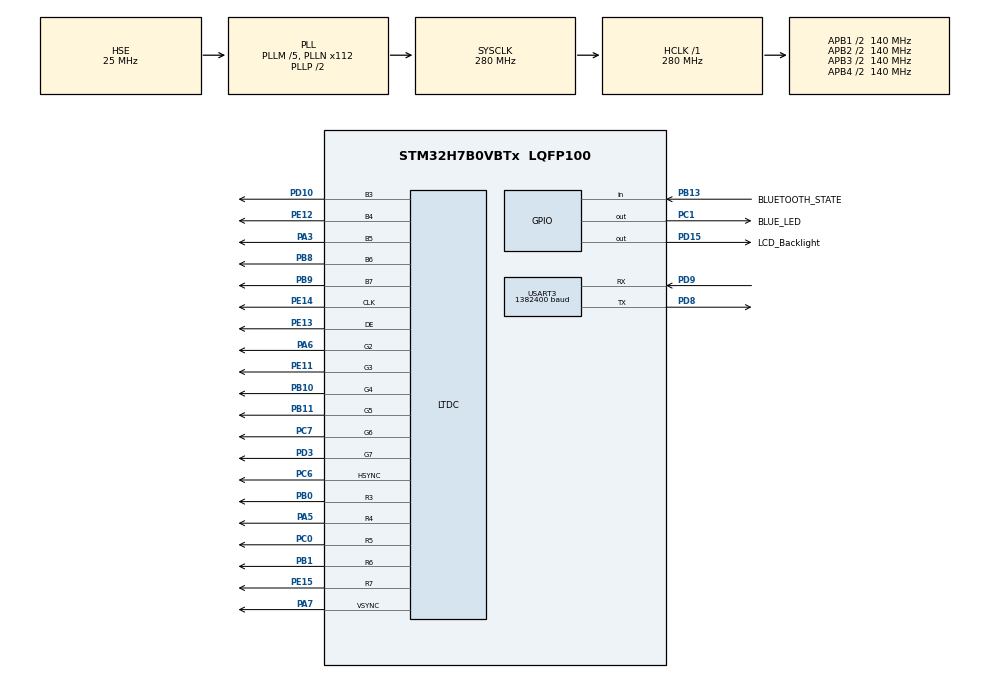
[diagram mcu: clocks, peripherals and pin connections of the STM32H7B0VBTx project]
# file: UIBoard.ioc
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CORTEX_M7.CPU_DCache=Disabled
CORTEX_M7.CPU_ICache=Enabled
CORTEX_M7.MPU_Control=__NULL
CORTEX_M7.default_mode_Activation=1
DMA2D.ColorMode=DMA2D_OUTPUT_RGB565
Dma.MEMTOMEM.2.Direction=DMA_MEMORY_TO_MEMORY
Dma.MEMTOMEM.2.EventEnable=DISABLE
Dma.MEMTOMEM.2.FIFOMode=DMA_FIFOMODE_ENABLE
Dma.MEMTOMEM.2.FIFOThreshold=DMA_FIFO_THRESHOLD_FULL
Dma.MEMTOMEM.2.Instance=DMA2_Stream0
Dma.MEMTOMEM.2.MemBurst=DMA_MBURST_SINGLE
Dma.MEMTOMEM.2.MemDataAlignment=DMA_MDATAALIGN_BYTE
Dma.MEMTOMEM.2.MemInc=DMA_MINC_ENABLE
Dma.MEMTOMEM.2.Mode=DMA_NORMAL
Dma.MEMTOMEM.2.PeriphBurst=DMA_PBURST_SINGLE
Dma.MEMTOMEM.2.PeriphDataAlignment=DMA_PDATAALIGN_BYTE
Dma.MEMTOMEM.2.PeriphInc=DMA_PINC_DISABLE
Dma.MEMTOMEM.2.Polarity=HAL_DMAMUX_REQ_GEN_RISING
Dma.MEMTOMEM.2.Priority=DMA_PRIORITY_LOW
Dma.MEMTOMEM.2.RequestNumber=1
Dma.MEMTOMEM.2.SignalID=NONE
Dma.MEMTOMEM.2.SyncEnable=DISABLE
Dma.MEMTOMEM.2.SyncPolarity=HAL_DMAMUX_SYNC_NO_EVENT
Dma.MEMTOMEM.2.SyncRequestNumber=1
Dma.MEMTOMEM.2.SyncSignalID=NONE
Dma.Request0=USART3_RX
Dma.Request1=USART3_TX
Dma.Request2=MEMTOMEM
Dma.USART3_RX.0.Direction=DMA_PERIPH_TO_MEMORY
Dma.USART3_RX.0.EventEnable=DISABLE
Dma.USART3_RX.0.FIFOMode=DMA_FIFOMODE_DISABLE
Dma.USART3_RX.0.Instance=DMA1_Stream0
Dma.USART3_RX.0.MemDataAlignment=DMA_MDATAALIGN_BYTE
Dma.USART3_RX.0.MemInc=DMA_MINC_ENABLE
Dma.USART3_RX.0.Mode=DMA_CIRCULAR
Dma.USART3_RX.0.PeriphDataAlignment=DMA_PDATAALIGN_BYTE
Dma.USART3_RX.0.PeriphInc=DMA_PINC_DISABLE
Dma.USART3_RX.0.Polarity=HAL_DMAMUX_REQ_GEN_RISING
Dma.USART3_RX.0.Priority=DMA_PRIORITY_VERY_HIGH
Dma.USART3_RX.0.RequestNumber=1
Dma.USART3_RX.0.SignalID=NONE
Dma.USART3_RX.0.SyncEnable=DISABLE
Dma.USART3_RX.0.SyncPolarity=HAL_DMAMUX_SYNC_NO_EVENT
Dma.USART3_RX.0.SyncRequestNumber=1
Dma.USART3_RX.0.SyncSignalID=NONE
Dma.USART3_TX.1.Direction=DMA_MEMORY_TO_PERIPH
Dma.USART3_TX.1.EventEnable=DISABLE
Dma.USART3_TX.1.FIFOMode=DMA_FIFOMODE_DISABLE
Dma.USART3_TX.1.Instance=DMA1_Stream1
Dma.USART3_TX.1.MemDataAlignment=DMA_MDATAALIGN_BYTE
Dma.USART3_TX.1.MemInc=DMA_MINC_ENABLE
Dma.USART3_TX.1.Mode=DMA_NORMAL
Dma.USART3_TX.1.PeriphDataAlignment=DMA_PDATAALIGN_BYTE
Dma.USART3_TX.1.PeriphInc=DMA_PINC_DISABLE
Dma.USART3_TX.1.Polarity=HAL_DMAMUX_REQ_GEN_RISING
Dma.USART3_TX.1.Priority=DMA_PRIORITY_VERY_HIGH
Dma.USART3_TX.1.RequestNumber=1
Dma.USART3_TX.1.SignalID=NONE
Dma.USART3_TX.1.SyncEnable=DISABLE
Dma.USART3_TX.1.SyncPolarity=HAL_DMAMUX_SYNC_NO_EVENT
Dma.USART3_TX.1.SyncRequestNumber=1
Dma.USART3_TX.1.SyncSignalID=NONE
FREERTOS.Tasks01=TouchGFX,0,4096,TouchGFX_Task,As weak,NULL,Dynamic,NULL,NULL;LED,-3,128,LED_Task,Default,NULL,Dynamic,NULL,NULL;WeWalkDebugGUI,3,2048,WeWalkDebugGUI_Task,Default,NULL,Dynamic,NULL,NULL
FREERTOS.configTOTAL_HEAP_SIZE=32768
LTDC.ActiveW=800
LTDC.Alpha_L0=255
LTDC.FBStartAdress_L0=0x24000000
LTDC.HBP=80
LTDC.HFP=200
LTDC.HSync=1
LTDC.ImageHeight_L0=480
LTDC.ImageWidth_L0=800
LTDC.Layers=0
LTDC.PixelFormat_L0=LTDC_PIXEL_FORMAT_RGB565
LTDC.VBP=40
LTDC.VFP=22
LTDC.VSync=1
LTDC.WindowX1_L0=800
LTDC.WindowY1_L0=480
Mcu.Family=STM32H7
Mcu.Name=STM32H7B0VBTx
Mcu.Package=LQFP100
NVIC.DMA1_Stream0_IRQn=true\:5\:0\:false\:false\:true\:true\:false\:true\:true
NVIC.DMA1_Stream1_IRQn=true\:5\:0\:false\:false\:true\:true\:false\:true\:true
NVIC.DMA2D_IRQn=true\:9\:0\:true\:false\:true\:true\:true\:true\:true
NVIC.LTDC_IRQn=true\:9\:0\:true\:false\:true\:true\:true\:true\:true
NVIC.PriorityGroup=NVIC_PRIORITYGROUP_4
NVIC.TIM1_UP_IRQn=true\:15\:0\:false\:false\:true\:false\:false\:true\:true
NVIC.TimeBase=TIM1_UP_IRQn
NVIC.TimeBaseIP=TIM1
NVIC.USART3_IRQn=true\:5\:0\:false\:false\:true\:true\:true\:true\:true
PA1.Signal=LTDC_R2
PA3.GPIO_Speed=GPIO_SPEED_FREQ_VERY_HIGH
PA3.Mode=RGB565
PA3.Signal=LTDC_B5
PA5.GPIO_Speed=GPIO_SPEED_FREQ_VERY_HIGH
PA5.Mode=RGB565
PA5.Signal=LTDC_R4
PA6.GPIO_Speed=GPIO_SPEED_FREQ_VERY_HIGH
PA6.Mode=RGB565
PA6.Signal=LTDC_G2
PA7.GPIO_Speed=GPIO_SPEED_FREQ_VERY_HIGH
PA7.Mode=RGB565
PA7.Signal=LTDC_VSYNC
PB0.GPIO_Speed=GPIO_SPEED_FREQ_VERY_HIGH
PB0.Mode=RGB565
PB0.Signal=LTDC_R3
PB1.GPIO_Speed=GPIO_SPEED_FREQ_VERY_HIGH
PB1.Mode=RGB565
PB1.Signal=LTDC_R6
PB10.GPIO_Speed=GPIO_SPEED_FREQ_VERY_HIGH
PB10.Mode=RGB565
PB10.Signal=LTDC_G4
PB11.GPIO_Speed=GPIO_SPEED_FREQ_VERY_HIGH
PB11.Mode=RGB565
PB11.Signal=LTDC_G5
PB13.GPIO_Label=BLUETOOTH_STATE
PB13.Signal=GPIO_Input
PB8.GPIO_Speed=GPIO_SPEED_FREQ_VERY_HIGH
PB8.Mode=RGB565
PB8.Signal=LTDC_B6
PB9.GPIO_Speed=GPIO_SPEED_FREQ_VERY_HIGH
PB9.Mode=RGB565
PB9.Signal=LTDC_B7
PC0.GPIO_Speed=GPIO_SPEED_FREQ_VERY_HIGH
PC0.Mode=RGB565
PC0.Signal=LTDC_R5
PC1.GPIO_Label=BLUE_LED
PC1.Signal=GPIO_Output
PC14-OSC32_IN.Mode=LSE-External-Oscillator
PC14-OSC32_IN.Signal=RCC_OSC32_IN
PC15-OSC32_OUT.Mode=LSE-External-Oscillator
PC15-OSC32_OUT.Signal=RCC_OSC32_OUT
PC6.GPIO_Speed=GPIO_SPEED_FREQ_VERY_HIGH
PC6.Mode=RGB565
PC6.Signal=LTDC_HSYNC
PC7.GPIO_Speed=GPIO_SPEED_FREQ_VERY_HIGH
PC7.Mode=RGB565
PC7.Signal=LTDC_G6
PD10.GPIO_Speed=GPIO_SPEED_FREQ_VERY_HIGH
PD10.Mode=RGB565
PD10.Signal=LTDC_B3
PD15.GPIO_Label=LCD_Backlight
PD15.PinState=GPIO_PIN_SET
PD15.Signal=GPIO_Output
PD3.GPIO_Speed=GPIO_SPEED_FREQ_VERY_HIGH
PD3.Mode=RGB565
PD3.Signal=LTDC_G7
PD8.GPIO_Speed=GPIO_SPEED_FREQ_VERY_HIGH
PD8.Mode=Asynchronous
PD8.Signal=USART3_TX
PD9.GPIO_Speed=GPIO_SPEED_FREQ_VERY_HIGH
PD9.Mode=Asynchronous
PD9.Signal=USART3_RX
PE11.GPIO_Speed=GPIO_SPEED_FREQ_VERY_HIGH
PE11.Mode=RGB565
PE11.Signal=LTDC_G3
PE12.GPIO_Speed=GPIO_SPEED_FREQ_VERY_HIGH
PE12.Mode=RGB565
PE12.Signal=LTDC_B4
PE13.GPIO_Speed=GPIO_SPEED_FREQ_VERY_HIGH
PE13.Mode=RGB565
PE13.Signal=LTDC_DE
PE14.GPIO_Speed=GPIO_SPEED_FREQ_VERY_HIGH
PE14.Mode=RGB565
PE14.Signal=LTDC_CLK
PE15.GPIO_Speed=GPIO_SPEED_FREQ_VERY_HIGH
PE15.Mode=RGB565
PE15.Signal=LTDC_R7
PH0-OSC_IN.Mode=HSE-External-Oscillator
PH0-OSC_IN.Signal=RCC_OSC_IN
PH1-OSC_OUT.Mode=HSE-External-Oscillator
PH1-OSC_OUT.Signal=RCC_OSC_OUT
ProjectManager.HeapSize=0x2000
ProjectManager.StackSize=0x3000
ProjectManager.TargetToolchain=MDK-ARM V5.32
RCC.ADCFreq_Value=50390625
RCC.APB1Freq_Value=140000000
RCC.APB2Freq_Value=140000000
RCC.APB3Freq_Value=140000000
RCC.APB4Freq_Value=140000000
RCC.CDPPRE=RCC_APB3_DIV2
RCC.CDPPRE1=RCC_APB1_DIV2
RCC.CDPPRE2=RCC_APB2_DIV2
RCC.CortexFreq_Value=280000000
RCC.DIVM1=5
RCC.DIVM3=25
RCC.DIVN1=112
RCC.DIVN3=330
RCC.DIVR3=7
RCC.HCLKFreq_Value=280000000
RCC.HSE_VALUE=25000000
RCC.PLL2FRACN=0
RCC.PLL3FRACN=0
RCC.PLLFRACN=0
RCC.PLLSourceVirtual=RCC_PLLSOURCE_HSE
RCC.SRDPPRE=RCC_APB4_DIV2
RCC.SYSCLKFreq_VALUE=280000000
RCC.SYSCLKSource=RCC_SYSCLKSOURCE_PLLCLK
RCC.USBFreq_Value=280000000
STMicroelectronics.X-CUBE-TOUCHGFX.4.25.0.ApplicationCcGraphicsJjApplication=TouchGFXOoGenerator
STMicroelectronics.X-CUBE-TOUCHGFX.4.25.0.tgfx_display_interface=disp_ltdc
STMicroelectronics.X-CUBE-TOUCHGFX.4.25.0.tgfx_hardware_accelerator=dma_2d
STMicroelectronics.X-CUBE-TOUCHGFX.4.25.0.tgfx_vsync=vsync_ltdc
STMicroelectronics.X-CUBE-TOUCHGFX.4.25.0_IsPackSelfContextualization=true
USART3.BaudRate=1382400
USART3.VirtualMode-Asynchronous=VM_ASYNC
VP_CRC_VS_CRC.Mode=CRC_Activate
VP_DMA2D_VS_DMA2D.Mode=DMA2D_Activate
VP_FREERTOS_VS_CMSIS_V1.Mode=CMSIS_V1
VP_MEMORYMAP_VS_MEMORYMAP.Mode=CurAppReg
VP_STMicroelectronics.X-CUBE-TOUCHGFX_VS_GraphicsJjApplication_4.25.0.Mode=GraphicsJjApplication
VP_SYS_VS_tim1.Mode=TIM1
board=custom

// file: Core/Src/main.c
/* USER CODE BEGIN Header */
/**
  ******************************************************************************
  * @file           : main.c
  * @brief          : Main program body
  ******************************************************************************
  * @attention
  *
  * Copyright (c) 2025 STMicroelectronics.
  * All rights reserved.
  *
  * This software is licensed under terms that can be found in the LICENSE file
  * in the root directory of this software component.
  * If no LICENSE file comes with this software, it is provided AS-IS.
  *
  ******************************************************************************
  */
/* USER CODE END Header */
#include "main.h"
#include "cmsis_os.h"
#include "app_touchgfx.h"

/* USER CODE BEGIN Includes */

#include "common.h"
#include "touch_800x480.h"

/* USER CODE END Includes */

CRC_HandleTypeDef hcrc;

DMA2D_HandleTypeDef hdma2d;

LTDC_HandleTypeDef hltdc;

UART_HandleTypeDef huart3;
DMA_HandleTypeDef hdma_usart3_rx;
DMA_HandleTypeDef hdma_usart3_tx;

DMA_HandleTypeDef hdma_memtomem_dma2_stream0;
osThreadId TouchGFXHandle;
osThreadId LEDHandle;
osThreadId WeWalkDebugGUIHandle;
/* USER CODE BEGIN PV */
SerialProtocolEchoHandle hSerial;
WeWalkDebugUIHandheldHandle hUIHandheld;
/* USER CODE END PV */

void SystemClock_Config(void);
static void MX_GPIO_Init(void);
static void MX_DMA_Init(void);
static void MX_DMA2D_Init(void);
static void MX_CRC_Init(void);
static void MX_LTDC_Init(void);
static void MX_USART3_UART_Init(void);
void TouchGFX_Task(void const * argument);
void LED_Task(void const * argument);
void WeWalkDebugGUI_Task(void const * argument);

int main(void)
{

  /* Enable the CPU Cache */

  /* Enable I-Cache---------------------------------------------------------*/
  SCB_EnableICache();

  /* MCU Configuration--------------------------------------------------------*/

  /* Reset of all peripherals, Initializes the Flash interface and the Systick. */
  HAL_Init();

  /* Configure the system clock */
  SystemClock_Config();

  /* Initialize all configured peripherals */
  MX_GPIO_Init();
  MX_DMA_Init();
  MX_DMA2D_Init();
  MX_CRC_Init();
  MX_LTDC_Init();
  MX_USART3_UART_Init();
  MX_TouchGFX_Init();
  /* Call PreOsInit function */
  MX_TouchGFX_PreOSInit();
  /* USER CODE BEGIN 2 */
	Touch_Init();
  /* USER CODE END 2 */

  /* Create the thread(s) */
  /* definition and creation of TouchGFX */
  osThreadDef(TouchGFX, TouchGFX_Task, osPriorityNormal, 0, 4096);
  TouchGFXHandle = osThreadCreate(osThread(TouchGFX), NULL);

  /* definition and creation of LED */
  osThreadDef(LED, LED_Task, osPriorityIdle, 0, 128);
  LEDHandle = osThreadCreate(osThread(LED), NULL);

  /* definition and creation of WeWalkDebugGUI */
  osThreadDef(WeWalkDebugGUI, WeWalkDebugGUI_Task, osPriorityRealtime, 0, 2048);
  WeWalkDebugGUIHandle = osThreadCreate(osThread(WeWalkDebugGUI), NULL);

  /* Start scheduler */
  osKernelStart();

  /* We should never get here as control is now taken by the scheduler */

  /* Infinite loop */
  while (1)
  {

  }
}

void SystemClock_Config(void)
{
  RCC_OscInitTypeDef RCC_OscInitStruct = {0};
  RCC_ClkInitTypeDef RCC_ClkInitStruct = {0};

  /*AXI clock gating */
  RCC->CKGAENR = 0xE003FFFF;

  /** Supply configuration update enable
  */
  HAL_PWREx_ConfigSupply(PWR_LDO_SUPPLY);

  /** Configure the main internal regulator output voltage
  */
  __HAL_PWR_VOLTAGESCALING_CONFIG(PWR_REGULATOR_VOLTAGE_SCALE0);

  while(!__HAL_PWR_GET_FLAG(PWR_FLAG_VOSRDY)) {}

  /** Initializes the RCC Oscillators according to the specified parameters
  * in the RCC_OscInitTypeDef structure.
  */
  RCC_OscInitStruct.OscillatorType = RCC_OSCILLATORTYPE_HSE;
  RCC_OscInitStruct.HSEState = RCC_HSE_ON;
  RCC_OscInitStruct.PLL.PLLState = RCC_PLL_ON;
  RCC_OscInitStruct.PLL.PLLSource = RCC_PLLSOURCE_HSE;
  RCC_OscInitStruct.PLL.PLLM = 5;
  RCC_OscInitStruct.PLL.PLLN = 112;
  RCC_OscInitStruct.PLL.PLLP = 2;
  RCC_OscInitStruct.PLL.PLLQ = 2;
  RCC_OscInitStruct.PLL.PLLR = 2;
  RCC_OscInitStruct.PLL.PLLRGE = RCC_PLL1VCIRANGE_2;
  RCC_OscInitStruct.PLL.PLLVCOSEL = RCC_PLL1VCOWIDE;
  RCC_OscInitStruct.PLL.PLLFRACN = 0;
  if (HAL_RCC_OscConfig(&RCC_OscInitStruct) != HAL_OK)
  {
    Error_Handler();
  }

  /** Initializes the CPU, AHB and APB buses clocks
  */
  RCC_ClkInitStruct.ClockType = RCC_CLOCKTYPE_HCLK|RCC_CLOCKTYPE_SYSCLK
                              |RCC_CLOCKTYPE_PCLK1|RCC_CLOCKTYPE_PCLK2
                              |RCC_CLOCKTYPE_D3PCLK1|RCC_CLOCKTYPE_D1PCLK1;
  RCC_ClkInitStruct.SYSCLKSource = RCC_SYSCLKSOURCE_PLLCLK;
  RCC_ClkInitStruct.SYSCLKDivider = RCC_SYSCLK_DIV1;
  RCC_ClkInitStruct.AHBCLKDivider = RCC_HCLK_DIV1;
  RCC_ClkInitStruct.APB3CLKDivider = RCC_APB3_DIV2;
  RCC_ClkInitStruct.APB1CLKDivider = RCC_APB1_DIV2;
  RCC_ClkInitStruct.APB2CLKDivider = RCC_APB2_DIV2;
  RCC_ClkInitStruct.APB4CLKDivider = RCC_APB4_DIV2;

  if (HAL_RCC_ClockConfig(&RCC_ClkInitStruct, FLASH_LATENCY_6) != HAL_OK)
  {
    Error_Handler();
  }
}

static void MX_CRC_Init(void)
{

  hcrc.Instance = CRC;
  hcrc.Init.DefaultPolynomialUse = DEFAULT_POLYNOMIAL_ENABLE;
  hcrc.Init.DefaultInitValueUse = DEFAULT_INIT_VALUE_ENABLE;
  hcrc.Init.InputDataInversionMode = CRC_INPUTDATA_INVERSION_NONE;
  hcrc.Init.OutputDataInversionMode = CRC_OUTPUTDATA_INVERSION_DISABLE;
  hcrc.InputDataFormat = CRC_INPUTDATA_FORMAT_BYTES;
  if (HAL_CRC_Init(&hcrc) != HAL_OK)
  {
    Error_Handler();
  }

}

static void MX_DMA2D_Init(void)
{

  hdma2d.Instance = DMA2D;
  hdma2d.Init.Mode = DMA2D_M2M;
  hdma2d.Init.ColorMode = DMA2D_OUTPUT_RGB565;
  hdma2d.Init.OutputOffset = 0;
  hdma2d.LayerCfg[1].InputOffset = 0;
  hdma2d.LayerCfg[1].InputColorMode = DMA2D_INPUT_RGB565;
  hdma2d.LayerCfg[1].AlphaMode = DMA2D_NO_MODIF_ALPHA;
  hdma2d.LayerCfg[1].InputAlpha = 0;
  hdma2d.LayerCfg[1].AlphaInverted = DMA2D_REGULAR_ALPHA;
  hdma2d.LayerCfg[1].RedBlueSwap = DMA2D_RB_REGULAR;
  hdma2d.LayerCfg[1].ChromaSubSampling = DMA2D_NO_CSS;
  if (HAL_DMA2D_Init(&hdma2d) != HAL_OK)
  {
    Error_Handler();
  }
  if (HAL_DMA2D_ConfigLayer(&hdma2d, 1) != HAL_OK)
  {
    Error_Handler();
  }

}

static void MX_LTDC_Init(void)
{

  LTDC_LayerCfgTypeDef pLayerCfg = {0};

  hltdc.Instance = LTDC;
  hltdc.Init.HSPolarity = LTDC_HSPOLARITY_AL;
  hltdc.Init.VSPolarity = LTDC_VSPOLARITY_AL;
  hltdc.Init.DEPolarity = LTDC_DEPOLARITY_AL;
  hltdc.Init.PCPolarity = LTDC_PCPOLARITY_IPC;
  hltdc.Init.HorizontalSync = 0;
  hltdc.Init.VerticalSync = 0;
  hltdc.Init.AccumulatedHBP = 80;
  hltdc.Init.AccumulatedVBP = 40;
  hltdc.Init.AccumulatedActiveW = 880;
  hltdc.Init.AccumulatedActiveH = 520;
  hltdc.Init.TotalWidth = 1080;
  hltdc.Init.TotalHeigh = 542;
  hltdc.Init.Backcolor.Blue = 0;
  hltdc.Init.Backcolor.Green = 0;
  hltdc.Init.Backcolor.Red = 0;
  if (HAL_LTDC_Init(&hltdc) != HAL_OK)
  {
    Error_Handler();
  }
  pLayerCfg.WindowX0 = 0;
  pLayerCfg.WindowX1 = 800;
  pLayerCfg.WindowY0 = 0;
  pLayerCfg.WindowY1 = 480;
  pLayerCfg.PixelFormat = LTDC_PIXEL_FORMAT_RGB565;
  pLayerCfg.Alpha = 255;
  pLayerCfg.Alpha0 = 0;
  pLayerCfg.BlendingFactor1 = LTDC_BLENDING_FACTOR1_CA;
  pLayerCfg.BlendingFactor2 = LTDC_BLENDING_FACTOR2_CA;
  pLayerCfg.FBStartAdress = 0x24000000;
  pLayerCfg.ImageWidth = 800;
  pLayerCfg.ImageHeight = 480;
  pLayerCfg.Backcolor.Blue = 0;
  pLayerCfg.Backcolor.Green = 0;
  pLayerCfg.Backcolor.Red = 0;
  if (HAL_LTDC_ConfigLayer(&hltdc, &pLayerCfg, 0) != HAL_OK)
  {
    Error_Handler();
  }

}

static void MX_USART3_UART_Init(void)
{

  huart3.Instance = USART3;
  huart3.Init.BaudRate = 1382400;
  huart3.Init.WordLength = UART_WORDLENGTH_8B;
  huart3.Init.StopBits = UART_STOPBITS_1;
  huart3.Init.Parity = UART_PARITY_NONE;
  huart3.Init.Mode = UART_MODE_TX_RX;
  huart3.Init.HwFlowCtl = UART_HWCONTROL_NONE;
  huart3.Init.OverSampling = UART_OVERSAMPLING_16;
  huart3.Init.OneBitSampling = UART_ONE_BIT_SAMPLE_DISABLE;
  huart3.Init.ClockPrescaler = UART_PRESCALER_DIV1;
  huart3.AdvancedInit.AdvFeatureInit = UART_ADVFEATURE_NO_INIT;
  if (HAL_UART_Init(&huart3) != HAL_OK)
  {
    Error_Handler();
  }
  if (HAL_UARTEx_SetTxFifoThreshold(&huart3, UART_TXFIFO_THRESHOLD_1_8) != HAL_OK)
  {
    Error_Handler();
  }
  if (HAL_UARTEx_SetRxFifoThreshold(&huart3, UART_RXFIFO_THRESHOLD_1_8) != HAL_OK)
  {
    Error_Handler();
  }
  if (HAL_UARTEx_DisableFifoMode(&huart3) != HAL_OK)
  {
    Error_Handler();
  }

}

static void MX_DMA_Init(void)
{

  /* DMA controller clock enable */
  __HAL_RCC_DMA1_CLK_ENABLE();
  __HAL_RCC_DMA2_CLK_ENABLE();

  /* Configure DMA request hdma_memtomem_dma2_stream0 on DMA2_Stream0 */
  hdma_memtomem_dma2_stream0.Instance = DMA2_Stream0;
  hdma_memtomem_dma2_stream0.Init.Request = DMA_REQUEST_MEM2MEM;
  hdma_memtomem_dma2_stream0.Init.Direction = DMA_MEMORY_TO_MEMORY;
  hdma_memtomem_dma2_stream0.Init.PeriphInc = DMA_PINC_DISABLE;
  hdma_memtomem_dma2_stream0.Init.MemInc = DMA_MINC_ENABLE;
  hdma_memtomem_dma2_stream0.Init.PeriphDataAlignment = DMA_PDATAALIGN_BYTE;
  hdma_memtomem_dma2_stream0.Init.MemDataAlignment = DMA_MDATAALIGN_BYTE;
  hdma_memtomem_dma2_stream0.Init.Mode = DMA_NORMAL;
  hdma_memtomem_dma2_stream0.Init.Priority = DMA_PRIORITY_LOW;
  hdma_memtomem_dma2_stream0.Init.FIFOMode = DMA_FIFOMODE_ENABLE;
  hdma_memtomem_dma2_stream0.Init.FIFOThreshold = DMA_FIFO_THRESHOLD_FULL;
  hdma_memtomem_dma2_stream0.Init.MemBurst = DMA_MBURST_SINGLE;
  hdma_memtomem_dma2_stream0.Init.PeriphBurst = DMA_PBURST_SINGLE;
  if (HAL_DMA_Init(&hdma_memtomem_dma2_stream0) != HAL_OK)
  {
    Error_Handler( );
  }

  /* DMA interrupt init */
  /* DMA1_Stream0_IRQn interrupt configuration */
  HAL_NVIC_SetPriority(DMA1_Stream0_IRQn, 5, 0);
  HAL_NVIC_EnableIRQ(DMA1_Stream0_IRQn);
  /* DMA1_Stream1_IRQn interrupt configuration */
  HAL_NVIC_SetPriority(DMA1_Stream1_IRQn, 5, 0);
  HAL_NVIC_EnableIRQ(DMA1_Stream1_IRQn);

}

static void MX_GPIO_Init(void)
{
  GPIO_InitTypeDef GPIO_InitStruct = {0};

  /* GPIO Ports Clock Enable */
  __HAL_RCC_GPIOC_CLK_ENABLE();
  __HAL_RCC_GPIOH_CLK_ENABLE();
  __HAL_RCC_GPIOA_CLK_ENABLE();
  __HAL_RCC_GPIOB_CLK_ENABLE();
  __HAL_RCC_GPIOE_CLK_ENABLE();
  __HAL_RCC_GPIOD_CLK_ENABLE();

  /*Configure GPIO pin Output Level */
  HAL_GPIO_WritePin(BLUE_LED_GPIO_Port, BLUE_LED_Pin, GPIO_PIN_RESET);

  /*Configure GPIO pin Output Level */
  HAL_GPIO_WritePin(LCD_Backlight_GPIO_Port, LCD_Backlight_Pin, GPIO_PIN_SET);

  /*Configure GPIO pin : BLUE_LED_Pin */
  GPIO_InitStruct.Pin = BLUE_LED_Pin;
  GPIO_InitStruct.Mode = GPIO_MODE_OUTPUT_PP;
  GPIO_InitStruct.Pull = GPIO_NOPULL;
  GPIO_InitStruct.Speed = GPIO_SPEED_FREQ_LOW;
  HAL_GPIO_Init(BLUE_LED_GPIO_Port, &GPIO_InitStruct);

  /*Configure GPIO pin : BLUETOOTH_STATE_Pin */
  GPIO_InitStruct.Pin = BLUETOOTH_STATE_Pin;
  GPIO_InitStruct.Mode = GPIO_MODE_INPUT;
  GPIO_InitStruct.Pull = GPIO_NOPULL;
  HAL_GPIO_Init(BLUETOOTH_STATE_GPIO_Port, &GPIO_InitStruct);

  /*Configure GPIO pin : LCD_Backlight_Pin */
  GPIO_InitStruct.Pin = LCD_Backlight_Pin;
  GPIO_InitStruct.Mode = GPIO_MODE_OUTPUT_PP;
  GPIO_InitStruct.Pull = GPIO_NOPULL;
  GPIO_InitStruct.Speed = GPIO_SPEED_FREQ_LOW;
  HAL_GPIO_Init(LCD_Backlight_GPIO_Port, &GPIO_InitStruct);

}

/* USER CODE BEGIN 4 */

//////////////	hSerial = SERIALPROTOCOLECHO_Create(&huart3, &hdma_memtomem_dma2_stream0);
//////////////  hUIHandheld = WEWALKDEBUGUIHANDHELD_Create(&hSerial, 5);
//////////////	SERIALPROTOCOLECHO_EnableCommunication_CircularDMAMode(&hSerial);
//////////////  /* Infinite loop */
//////////////  for(;;)
//////////////  {
//////////////		SERIALPROTOCOLECHO_ReceiveCargo(&hSerial);
//////////////    WeWalkDebugUIHandheld_Host(&hUIHandheld);
//////////////    osDelay(hUIHandheld.loop_period_ms);
//////////////  }

/* USER CODE END 4 */

__weak void TouchGFX_Task(void const * argument)
{
  for(;;)
  {
    osDelay(1);
  }
}

void LED_Task(void const * argument)
{
  /* USER CODE BEGIN LED_Task */
	HAL_GPIO_WritePin(LCD_Backlight_GPIO_Port, LCD_Backlight_Pin, GPIO_PIN_SET);
  /* Infinite loop */
  for(;;)
  {
		hUIHandheld.bluetoothState = HAL_GPIO_ReadPin(GPIOB, GPIO_PIN_13);
		HAL_GPIO_TogglePin(BLUE_LED_GPIO_Port, BLUE_LED_Pin);
    WeWalkOnlineOfflineCheck(&hUIHandheld);
    osDelay(100);
  }
  /* USER CODE END LED_Task */
}

void WeWalkDebugGUI_Task(void const * argument)
{
  /* USER CODE BEGIN WeWalkDebugGUI_Task */
	hSerial = SERIALPROTOCOLECHO_Create(&huart3, &hdma_memtomem_dma2_stream0);
  hUIHandheld = WEWALKDEBUGUIHANDHELD_Create(&hSerial, 5);
	SERIALPROTOCOLECHO_EnableCommunication_CircularDMAMode(&hSerial);
  /* Infinite loop */
  for(;;)
  {
		SERIALPROTOCOLECHO_ReceiveCargo(&hSerial);
    WeWalkDebugUIHandheld_Host(&hUIHandheld);
    osDelay(hUIHandheld.loop_period_ms);
  }
  /* USER CODE END WeWalkDebugGUI_Task */
}

void HAL_TIM_PeriodElapsedCallback(TIM_HandleTypeDef *htim)
{
  if (htim->Instance == TIM1)
  {
    HAL_IncTick();
  }
}

void Error_Handler(void)
{
  __disable_irq();
  while (1)
  {
  }
}
